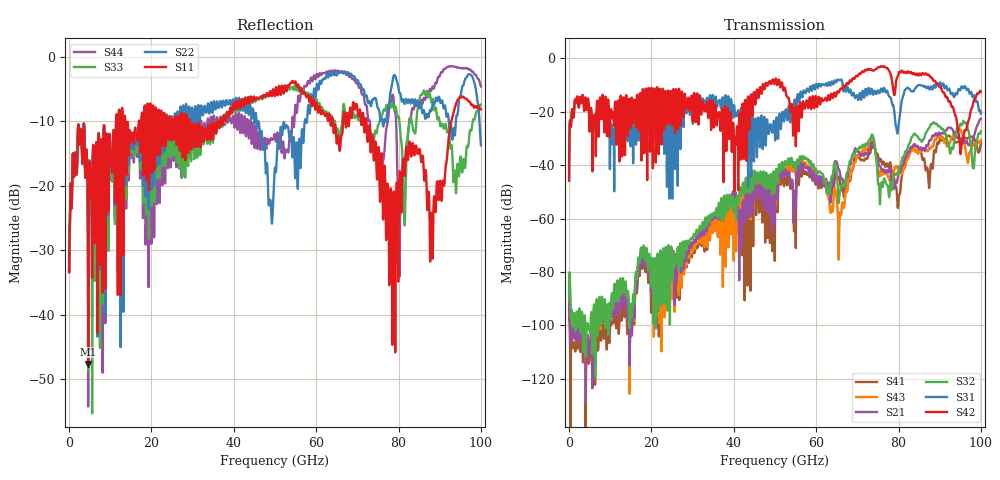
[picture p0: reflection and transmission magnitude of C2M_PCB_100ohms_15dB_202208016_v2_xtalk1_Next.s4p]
! Info: Touchstone file created by Circ.  Input file=Intel_C2M_200G_4p0in_202208016_staggered.circ
# Hz S RI R 50
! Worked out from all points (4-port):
!   10000 points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, 10 MHz to 100 GHz, reference 50 ohm
!   strongest paths, dB at 10 MHz, 25.01 GHz, 50.01 GHz, 75.01 GHz, 100 GHz:
!     S42: -45.7, -23.6, -8.5, -3.3, -12.5
!     S31: -45.8, -28.8, -30.2, -12.0, -20.7
!     S32: -90.1, -82.4, -48.3, -46.8, -27.3
!     S21: -93.6, -81.2, -50.2, -38.3, -22.6
!     S43: -93.4, -88.0, -55.7, -41.3, -30.5
!     S41: -94.9, -75.7, -59.2, -36.4, -31.6
!   lowest |S11| = -47.6 dB at 4.65 GHz (marker M1), VSWR 1.01, Z = 49.8 - j0.383 ohm
!   |S11| at or under -10 dB: start of sweep to 11.42 GHz; 29.37 GHz to 36.02 GHz (6.652 GHz wide, 20.3 % of centre); 72.22 GHz to 92.81 GHz (20.59 GHz wide, 25 % of centre)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
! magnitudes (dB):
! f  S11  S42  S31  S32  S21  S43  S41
! 10 MHz  -33.4  -45.7  -45.8  -90.1  -93.6  -93.4  -94.9
! 4.65 GHz  -47.6  -15.3  -16.3  -100.2  -108.4  -108.2  -112.3
! 40.6 GHz  -6.9  -31.5  -20.4  -59.2  -53.9  -67.8  -53.8
! 73.49 GHz  -12.4  -4.3  -11.4  -28.6  -31.3  -30.0  -32.6
! 76.11 GHz  -19.5  -3.2  -12.5  -48.2  -41.8  -43.6  -39.6
! 95.26 GHz  -6.3  -32.5  -10.6  -25.0  -30.3  -27.5  -30.1
! 100 GHz  -8.1  -12.5  -20.7  -27.3  -22.6  -30.5  -31.6
